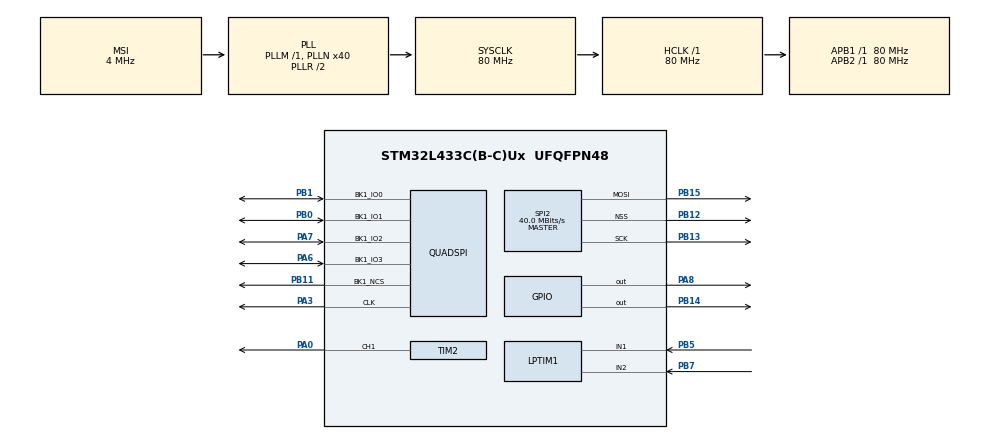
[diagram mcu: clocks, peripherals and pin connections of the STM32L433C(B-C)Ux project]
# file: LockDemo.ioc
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Dma.Request0=SPI2_TX
Dma.SPI2_TX.0.Direction=DMA_MEMORY_TO_PERIPH
Dma.SPI2_TX.0.Instance=DMA1_Channel5
Dma.SPI2_TX.0.MemDataAlignment=DMA_MDATAALIGN_BYTE
Dma.SPI2_TX.0.MemInc=DMA_MINC_ENABLE
Dma.SPI2_TX.0.Mode=DMA_NORMAL
Dma.SPI2_TX.0.PeriphDataAlignment=DMA_PDATAALIGN_BYTE
Dma.SPI2_TX.0.PeriphInc=DMA_PINC_DISABLE
Dma.SPI2_TX.0.Priority=DMA_PRIORITY_HIGH
LPTIM1.ULPClockPolarity=LPTIM_CLOCKPOLARITY_RISING_FALLING
Mcu.Family=STM32L4
Mcu.Name=STM32L433C(B-C)Ux
Mcu.Package=UFQFPN48
NVIC.DMA1_Channel5_IRQn=true\:0\:0\:false\:false\:true\:false\:true
NVIC.LPTIM1_IRQn=true\:0\:0\:false\:false\:true\:true\:true
NVIC.PriorityGroup=NVIC_PRIORITYGROUP_4
NVIC.TIM6_DAC_IRQn=true\:0\:0\:false\:false\:true\:true\:true
NVIC.TIM7_IRQn=true\:0\:0\:false\:false\:true\:true\:true
PA0.Signal=S_TIM2_CH1
PA13\ (JTMS-SWDIO).Mode=Trace_Asynchronous_SW
PA13\ (JTMS-SWDIO).Signal=SYS_JTMS-SWDIO
PA14\ (JTCK-SWCLK).Mode=Trace_Asynchronous_SW
PA14\ (JTCK-SWCLK).Signal=SYS_JTCK-SWCLK
PA3.Mode=Single Bank 1
PA3.Signal=QUADSPI_CLK
PA6.Mode=Single Bank 1
PA6.Signal=QUADSPI_BK1_IO3
PA7.Mode=Single Bank 1
PA7.Signal=QUADSPI_BK1_IO2
PA8.Signal=GPIO_Output
PB0.Mode=Single Bank 1
PB0.Signal=QUADSPI_BK1_IO1
PB1.Mode=Single Bank 1
PB1.Signal=QUADSPI_BK1_IO0
PB11.Mode=Single Bank 1
PB11.Signal=QUADSPI_BK1_NCS
PB12.Mode=NSS_Signal_Hard_Output
PB12.Signal=SPI2_NSS
PB13.Mode=TX_Only_Simplex_Unidirect_Master
PB13.Signal=SPI2_SCK
PB14.Signal=GPIO_Output
PB15.Mode=TX_Only_Simplex_Unidirect_Master
PB15.Signal=SPI2_MOSI
PB3\ (JTDO-TRACESWO).Mode=Trace_Asynchronous_SW
PB3\ (JTDO-TRACESWO).Signal=SYS_JTDO-SWO
PB5.Mode=Encoder_mode_occur1
PB5.Signal=LPTIM1_IN1
PB7.Mode=Encoder_mode_occur1
PB7.Signal=LPTIM1_IN2
ProjectManager.HeapSize=0x200
ProjectManager.StackSize=0x400
ProjectManager.TargetToolchain=STM32CubeIDE
QUADSPI.ClockPrescaler=1
QUADSPI.FlashSize=24
RCC.AHBFreq_Value=80000000
RCC.APB1Freq_Value=80000000
RCC.APB1TimFreq_Value=80000000
RCC.APB2Freq_Value=80000000
RCC.APB2TimFreq_Value=80000000
RCC.CortexFreq_Value=80000000
RCC.HCLKFreq_Value=80000000
RCC.HSE_VALUE=8000000
RCC.HSI48_VALUE=48000000
RCC.HSI_VALUE=16000000
RCC.LSE_VALUE=32768
RCC.MSI_VALUE=4000000
RCC.PLLN=40
RCC.SYSCLKFreq_VALUE=80000000
RCC.SYSCLKSource=RCC_SYSCLKSOURCE_PLLCLK
RCC.VCOOutputFreq_Value=160000000
SH.S_TIM2_CH1.0=TIM2_CH1,PWM Generation1 CH1
SPI2.CalculateBaudRate=40.0 MBits/s
SPI2.DataSize=SPI_DATASIZE_8BIT
SPI2.Direction=SPI_DIRECTION_2LINES
SPI2.Mode=SPI_MODE_MASTER
SPI2.VirtualNSS=VM_NSSHARD
SPI2.VirtualType=VM_MASTER
STMicroelectronics.X-CUBE-TOUCHGFX.4.18.0.ApplicationCcGraphicsJjApplication=TouchGFXOoGenerator
STMicroelectronics.X-CUBE-TOUCHGFX.4.18.0.tgfx_block_size=2880
STMicroelectronics.X-CUBE-TOUCHGFX.4.18.0.tgfx_buffering_strategy=Partial
STMicroelectronics.X-CUBE-TOUCHGFX.4.18.0.tgfx_custom_height=240
STMicroelectronics.X-CUBE-TOUCHGFX.4.18.0.tgfx_custom_width=240
STMicroelectronics.X-CUBE-TOUCHGFX.4.18.0_IsPackSelfContextualization=true
TIM2.AutoReloadPreload=TIM_AUTORELOAD_PRELOAD_ENABLE
TIM2.Channel-PWM\ Generation1\ CH1=TIM_CHANNEL_1
TIM2.OCFastMode_PWM-PWM\ Generation1\ CH1=TIM_OCFAST_ENABLE
TIM2.Period=65535
TIM6.AutoReloadPreload=TIM_AUTORELOAD_PRELOAD_ENABLE
TIM6.Period=39800
TIM6.Prescaler=66
TIM7.AutoReloadPreload=TIM_AUTORELOAD_PRELOAD_ENABLE
TIM7.Period=39999
TIM7.Prescaler=1
VP_CRC_VS_CRC.Mode=CRC_Activate
VP_STMicroelectronics.X-CUBE-TOUCHGFX_VS_GraphicsJjApplication_4.18.0.Mode=GraphicsJjApplication
VP_TIM2_VS_ClockSourceINT.Mode=Internal
VP_TIM6_VS_ClockSourceINT.Mode=Enable_Timer
VP_TIM7_VS_ClockSourceINT.Mode=Enable_Timer
board=custom

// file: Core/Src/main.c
/* USER CODE BEGIN Header */
/**
  ******************************************************************************
  * @file           : main.c
  * @brief          : Main program body
  ******************************************************************************
  * @attention
  *
  * <h2><center>&copy; Copyright (c) 2021 STMicroelectronics.
  * All rights reserved.</center></h2>
  *
  * This software component is licensed by ST under BSD 3-Clause license,
  * the "License"; You may not use this file except in compliance with the
  * License. You may obtain a copy of the License at:
  *                        opensource.org/licenses/BSD-3-Clause
  *
  ******************************************************************************
  */
/* USER CODE END Header */
#include "main.h"
#include "crc.h"
#include "dma.h"
#include "lptim.h"
#include "quadspi.h"
#include "spi.h"
#include "tim.h"
#include "gpio.h"
#include "app_touchgfx.h"

/* USER CODE BEGIN Includes */
#include "GC9A01.h"
#include "math.h"
#include "defs.h"

/* USER CODE END Includes */

/* USER CODE BEGIN PD */

#define NONE    (0u)
#define LEFT    (1u)
#define RIGHT   (2u)

#define ENCODER_GOING_UP    (0u)
#define ENCODER_GOING_DOWN  (1u)

#define INPUT_TIMEOUT          (1300u)   // around 2 sec
#define DEMO_RUNNING_TIMEOUT   (48000u)  // around 60 sec
#define MAX_DISPLAY_BRIGHTNESS (65520u)
#define MAX_ENCODER_CNT        (65535u)
/* USER CODE END PD */

/* USER CODE BEGIN PV */

volatile int32_t  volume       = 0;
volatile uint8_t  updateFromPC = 0;
volatile uint8_t  movement     = NONE;
volatile uint32_t steps        = 0;

volatile uint8_t buttonPushed  = NONE;
volatile uint8_t userSelection;

/* USER CODE END PV */

void SystemClock_Config(void);
/* USER CODE BEGIN PFP */
void touchgfxSignalVSync(void);
/* USER CODE END PFP */

/* USER CODE BEGIN 0 */

// global variables for back light operation
volatile uint32_t targetBacklight           = 0;  // 65520 is max brightness
volatile uint8_t  blacklightTransitionReady = 1;  // if this value is not 1 means the back light is in transition from one value to another

void HAL_TIM_PeriodElapsedCallback(TIM_HandleTypeDef *htim)
{
	if (htim->Instance == TIM6)
	{
		touchgfxSignalVSync();
	}

	if (htim->Instance == TIM7)
	{
		if(TIM2->CCR1 > targetBacklight)
		{
			TIM2->CCR1 = TIM2->CCR1 - 70;
		}

		if(TIM2->CCR1 < targetBacklight)
		{
			TIM2->CCR1 = TIM2->CCR1 + 70;
		}

		if(TIM2->CCR1 == targetBacklight)
		{
			blacklightTransitionReady = 1;
		}else{
			blacklightTransitionReady = 0;
		}
	}
}
/* USER CODE END 0 */

int main(void)
{
  /* USER CODE BEGIN 1 */

  // this is for navigation
  uint32_t countDif           = 0;
  uint32_t currentEncoderVal  = 0;
  uint32_t prevEncoderVal     = 0;

  /* USER CODE END 1 */

  /* MCU Configuration--------------------------------------------------------*/

  /* Reset of all peripherals, Initializes the Flash interface and the Systick. */
  HAL_Init();

  /* Configure the system clock */
  SystemClock_Config();

  /* Initialize all configured peripherals */
  MX_GPIO_Init();
  MX_CRC_Init();
  MX_TIM2_Init();
  MX_TIM6_Init();
  MX_TIM7_Init();
  MX_DMA_Init();
  MX_SPI2_Init();
  MX_QUADSPI_Init();
  MX_LPTIM1_Init();
  MX_TouchGFX_Init();
  /* USER CODE BEGIN 2 */

  //for the external flash and memory mapped mode
  CSP_QUADSPI_Init();
  CSP_QSPI_EnableMemoryMappedMode();

  //for the back light PWM and dimming
  TIM2->CCR1 = 0;
  HAL_TIM_PWM_Start(&htim2, TIM_CHANNEL_1);
  HAL_TIM_Base_Start_IT(&htim7);
  TIM2->CCR1 = targetBacklight;

  // init the display driver
  GC9A01_init();

  // this is for the GFX screen refresh
  HAL_TIM_Base_Start_IT(&htim6);

  // for the rotary encoder IP
  HAL_LPTIM_Encoder_Start_IT(&hlptim1, 0xffff);

  //Some sketchy things to make to refresh the screen while the backlight is off
  MX_TouchGFX_Process();

  // turn the backlight on gradually
  targetBacklight = MAX_DISPLAY_BRIGHTNESS;

  /* USER CODE END 2 */

  /* Infinite loop */
  /* USER CODE BEGIN WHILE */
  while (1)
  {
	 // get the latest value of the encoder
	 currentEncoderVal = HAL_LPTIM_ReadCounter(&hlptim1);

	 // check if the user has turned the encoder
	 if(prevEncoderVal != currentEncoderVal)
	 {
		// get the difference between current counter value and the new counter value
		if(currentEncoderVal > prevEncoderVal)
		{
			countDif = currentEncoderVal - prevEncoderVal;
			movement = LEFT;
		}else{
			countDif = prevEncoderVal - currentEncoderVal;
			movement = RIGHT;
		}

		// here we can see if we have overflow of the counter or not
		if(countDif > (MAX_ENCODER_CNT/2))
		{
			// correct for the over/under flow
			countDif = MAX_ENCODER_CNT - countDif; // just subtract from max value

			if(LEFT == movement)
			{
				movement = RIGHT;
			}else{
				movement = LEFT;
			}
		}

		steps = countDif / 2;

		if(0 != steps)
		{
			prevEncoderVal = currentEncoderVal;
		}else{
			movement = NONE;
		}
	 }else{
		 movement = NONE;
	 }

	 switch(movement)
	 {
		 case LEFT:
		     buttonPushed = LEFT;
			    break;

		 case RIGHT:
		     buttonPushed = RIGHT;
				break;

		 case NONE:
		     //buttonPushed = NONE;
				break;

		 default:
				break;
	 }
    /* USER CODE END WHILE */

  MX_TouchGFX_Process();
  }
}

void SystemClock_Config(void)
{
  RCC_OscInitTypeDef RCC_OscInitStruct = {0};
  RCC_ClkInitTypeDef RCC_ClkInitStruct = {0};

  /** Configure the main internal regulator output voltage
  */
  if (HAL_PWREx_ControlVoltageScaling(PWR_REGULATOR_VOLTAGE_SCALE1) != HAL_OK)
  {
    Error_Handler();
  }
  /** Initializes the RCC Oscillators according to the specified parameters
  * in the RCC_OscInitTypeDef structure.
  */
  RCC_OscInitStruct.OscillatorType = RCC_OSCILLATORTYPE_MSI;
  RCC_OscInitStruct.MSIState = RCC_MSI_ON;
  RCC_OscInitStruct.MSICalibrationValue = 0;
  RCC_OscInitStruct.MSIClockRange = RCC_MSIRANGE_6;
  RCC_OscInitStruct.PLL.PLLState = RCC_PLL_ON;
  RCC_OscInitStruct.PLL.PLLSource = RCC_PLLSOURCE_MSI;
  RCC_OscInitStruct.PLL.PLLM = 1;
  RCC_OscInitStruct.PLL.PLLN = 40;
  RCC_OscInitStruct.PLL.PLLP = RCC_PLLP_DIV7;
  RCC_OscInitStruct.PLL.PLLQ = RCC_PLLQ_DIV2;
  RCC_OscInitStruct.PLL.PLLR = RCC_PLLR_DIV2;
  if (HAL_RCC_OscConfig(&RCC_OscInitStruct) != HAL_OK)
  {
    Error_Handler();
  }
  /** Initializes the CPU, AHB and APB buses clocks
  */
  RCC_ClkInitStruct.ClockType = RCC_CLOCKTYPE_HCLK|RCC_CLOCKTYPE_SYSCLK
                              |RCC_CLOCKTYPE_PCLK1|RCC_CLOCKTYPE_PCLK2;
  RCC_ClkInitStruct.SYSCLKSource = RCC_SYSCLKSOURCE_PLLCLK;
  RCC_ClkInitStruct.AHBCLKDivider = RCC_SYSCLK_DIV1;
  RCC_ClkInitStruct.APB1CLKDivider = RCC_HCLK_DIV1;
  RCC_ClkInitStruct.APB2CLKDivider = RCC_HCLK_DIV1;

  if (HAL_RCC_ClockConfig(&RCC_ClkInitStruct, FLASH_LATENCY_4) != HAL_OK)
  {
    Error_Handler();
  }
}

void Error_Handler(void)
{
  __disable_irq();
  while (1)
  {
  }
}

/************************ (C) COPYRIGHT STMicroelectronics *****END OF FILE****/
